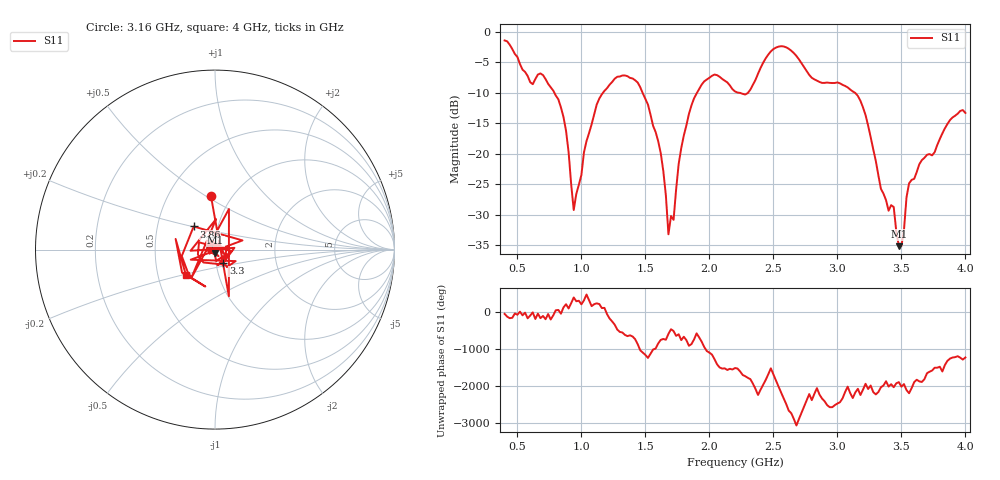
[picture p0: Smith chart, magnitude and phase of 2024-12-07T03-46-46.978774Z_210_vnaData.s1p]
!Created with skrf (http://scikit-rf.org).
# Hz S RI R 50.0
!freq ReS11 ImS11
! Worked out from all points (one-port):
!   181 points, 400 MHz to 4 GHz, reference 50 ohm
!   lowest |S11| = -35.2 dB at 3.48 GHz (marker M1), VSWR 1.04, Z = 50.1 - j1.74 ohm
!   |S11| at or under -10 dB: 788.1 MHz to 1.17 GHz (381.5 MHz wide, 39 % of centre); 1.477 GHz to 1.904 GHz (426.3 MHz wide, 25.2 % of centre); 3.136 GHz to end of sweep (the widest 3 of 4)
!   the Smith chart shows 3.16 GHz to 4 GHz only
!   S11 on the Smith chart (normalised r, x): 3.16 GHz: 0.81, +0.52; 3.3 GHz: 1.09, -0.16; 3.86 GHz: 0.76, +0.20; 4 GHz: 0.70, -0.21
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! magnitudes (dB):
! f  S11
! 400 MHz  -1.5
! 600 MHz  -8.3
! 700 MHz  -7.1
! 860 MHz  -14.0
! 940 MHz  -29.2
! 1.12 GHz  -11.9
! 1.3 GHz  -7.4
! 1.52 GHz  -12.0
! 1.62 GHz  -19.9
! 1.68 GHz  -33.2
! 1.72 GHz  -30.8
! 1.76 GHz  -21.7
! 1.84 GHz  -13.5
! 1.94 GHz  -8.7
! 2.2 GHz  -9.8
! 2.3 GHz  -10.1
! 2.5 GHz  -2.9
! 2.66 GHz  -3.5
! 3.1 GHz  -9.5
! 3.16 GHz  -10.5
! 3.3 GHz  -21.2
! 3.4 GHz  -29.4
! 3.44 GHz  -28.7
! 3.48 GHz  -35.2
! 3.52 GHz  -32.6
! 3.56 GHz  -24.9
! 3.86 GHz  -15.1
! 4 GHz  -13.3
